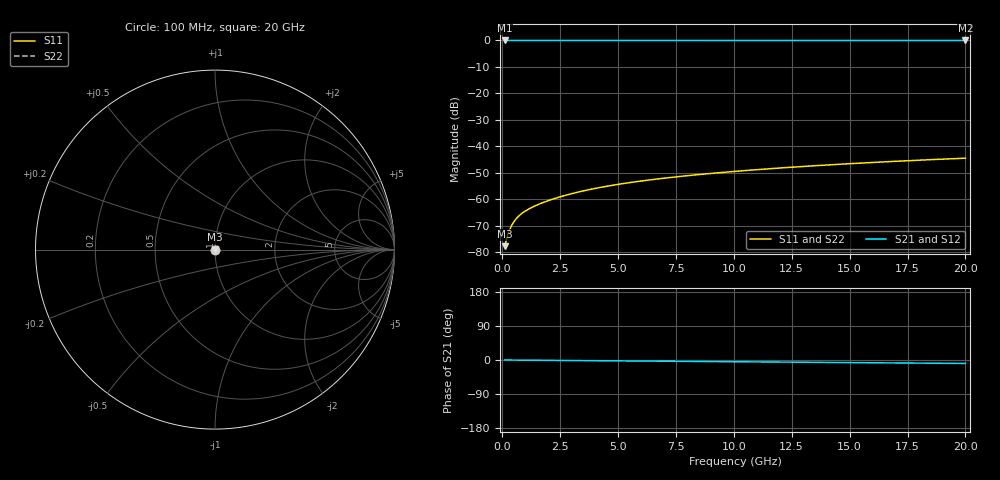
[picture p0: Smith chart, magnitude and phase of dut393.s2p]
! Touchstone file exported from HFSS 2026.1.0
!  File:  C:/ffzhzh/LocalFiles/Ansys_Project_Files/temp_train_TSV_393_1783020127_51716.aedt
!  Generated:  03:23:49 AM Jul  3, 2026
!  Design:  TSV
!  Project:  temp_train_TSV_393_1783020127_51716
! Variables:
!  h_bsmrdl = 2um
!  h_ox = 20um
!  h_rdl = 5um
!  h_sub = 91.51um
!  h_tmrdl = 5um
!  h_tsv = 91.51um
!  h_via = 3um
!  l_bsmrdl = 300um
!  l_sub = 424.02um
!  l_tmrdl = 200um
!  m_sub = 200um
!  pitch = 50.29um
!  r_tsv = 12.01um
!  s_tmrdl = 10um
!  w_bsmrdl = 18um
!  w_sub = 500um
!  w_tmrdl = 12um
!  x_tsv_center1 = 206um
!  x_tsv_center2 = 524um
!  x_tsv_center3 = 736um
!  x_tsv_center4 = 1054um
!  x_tsv_center5 = 1266um
!  x_tsv_center6 = 1584um
# GHz S MA R 50.000000
! Terminal data exported
! Port[1] = TSV1_1_T1
! Port[2] = TSV1_1_T2
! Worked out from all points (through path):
!   200 points, 100 MHz to 20 GHz, reference 50 ohm
!   highest |S21| = 0.00 dB at 100 MHz (marker M1); lowest = 0.0 dB at 20 GHz (marker M2)
!   group delay of S21, straight-line fit = 1.26 ps
!   lowest |S11| = -77.7 dB at 100 MHz (marker M3), VSWR 1.00, Z = 50 + j0.00756 ohm
!   |S11| at or under -10 dB: start of sweep to end of sweep
!   |S22| runs from -77.7 to -44.5 dB; largest |S21 - S12| = 6.8e-15
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0.1  0.0001306 35.4  0.9999 -0.0  0.9999 -0.0  0.0001306 35.4
! Gamma 0 0 0 0
! Port Impedance 50 0 50 0
0.2  0.0001906 50.8  0.9999 -0.1  0.9999 -0.1  0.0001906 50.8
0.3  0.0002562 56.5  0.9999 -0.1  0.9999 -0.1  0.0002562 56.5
0.4  0.0003193 58.7  0.9998 -0.2  0.9998 -0.2  0.0003193 58.7
0.5  0.0003774 59.4  0.9998 -0.2  0.9998 -0.2  0.0003774 59.4
0.6  0.0004304 59.7  0.9998 -0.3  0.9998 -0.3  0.0004304 59.7
0.7  0.0004788 59.7  0.9998 -0.3  0.9998 -0.3  0.0004788 59.7
0.9  0.0005648 59.9  0.9997 -0.4  0.9997 -0.4  0.0005648 59.9
1.1  0.0006415 60.4  0.9997 -0.5  0.9997 -0.5  0.0006415 60.4
1.3  0.000713 61.0  0.9997 -0.6  0.9997 -0.6  0.000713 61.0
1.9  0.0009167 63.4  0.9996 -0.9  0.9996 -0.9  0.0009167 63.4
2.6  0.00115 65.6  0.9995 -1.2  0.9995 -1.2  0.00115 65.6
3.5  0.001445 67.3  0.9995 -1.6  0.9995 -1.6  0.001445 67.3
4.2  0.001669 68.1  0.9994 -1.9  0.9994 -1.9  0.001669 68.1
5  0.001918 68.8  0.9994 -2.3  0.9994 -2.3  0.001918 68.8
5.9  0.00219 69.2  0.9993 -2.7  0.9993 -2.7  0.00219 69.2
6.8  0.002455 69.5  0.9993 -3.1  0.9993 -3.1  0.002455 69.5
8.3  0.002885 69.9  0.9992 -3.8  0.9992 -3.8  0.002885 69.9
10.1  0.003389 70.1  0.9991 -4.6  0.9991 -4.6  0.003389 70.1
13.4  0.004287 70.1  0.999 -6.1  0.999 -6.1  0.004288 70.1
16.7  0.005156 69.6  0.9988 -7.6  0.9988 -7.6  0.005156 69.6
20  0.005988 68.8  0.9987 -9.1  0.9987 -9.1  0.005989 68.8
